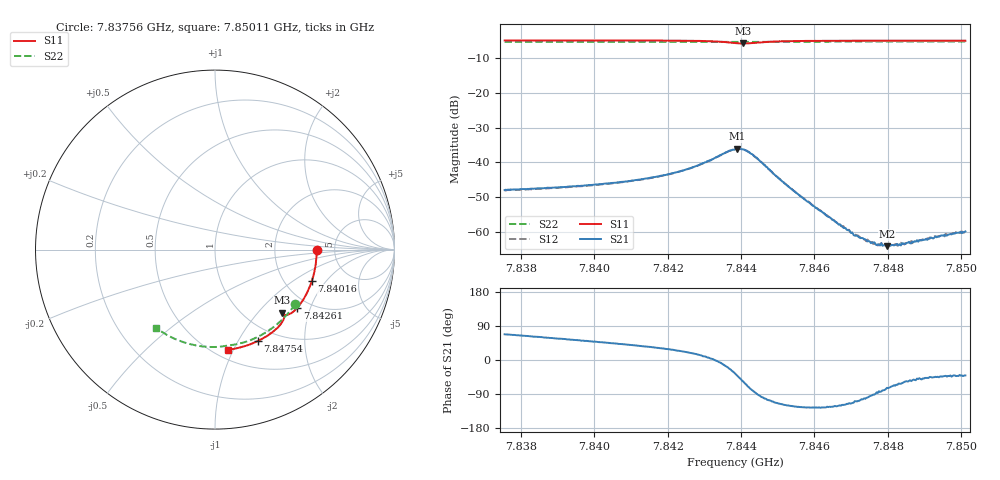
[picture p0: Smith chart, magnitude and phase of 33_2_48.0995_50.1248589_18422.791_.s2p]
#  HZ  S  RI  R  50.00
! Rohde & Schwarz Vector Network Analyzer
! Rohde-Schwarz,ZNB20-2Port,1311601062101988,3.16
! Created: UTC 12/23/2023, 3:37:52 AM
! freq[Hz]  re:S11  im:S11  re:S21  im:S21  re:S12  im:S12  re:S22  im:S22
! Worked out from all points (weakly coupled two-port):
!   401 points, 7.83756 GHz to 7.85011 GHz, reference 50 ohm
!   highest |S21| = -36.08 dB at 7.8439 GHz (marker M1); lowest = -64.1 dB at 7.84798 GHz (marker M2)
!   lowest |S11| = -5.8 dB at 7.84405 GHz (marker M3), VSWR 3.11, Z = 71.5 - j68.2 ohm
!   |S11| at or under -10 dB: nowhere
!   |S22| runs from -5.4 to -5.3 dB; largest |S21 - S12| = 0.00031
!   S11 on the Smith chart (normalised r, x): 7.83756 GHz: 3.61, -0.02; 7.84016 GHz: 2.80, -1.44; 7.84261 GHz: 1.72, -1.63; 7.84754 GHz: 0.81, -1.21; 7.85011 GHz: 0.58, -0.95
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7.837555e9  0.5666 -0.00223  0.0015 0.00369  0.00153 0.00367  0.4467 -0.3034
7.839659e9  0.5493 -0.1411  0.0029 0.00357  0.00282 0.00355  0.3486 -0.4132
7.840161e9  0.5398 -0.1737  0.0033 0.00356  0.00324 0.00353  0.3212 -0.4353
7.841762e9  0.4948 -0.274  0.00536 0.00328  0.00532 0.00328  0.2246 -0.4926
7.84261e9  0.4588 -0.3243  0.00778 0.00267  0.00772 0.00271  0.1689 -0.5145
7.843395e9  0.4087 -0.3619  0.0123 -0.00119  0.0122 -0.000963  0.1155 -0.5281
7.843835e9  0.3764 -0.3598  0.0125 -0.00891  0.0126 -0.00888  0.0861 -0.5322
7.843897e9  0.3743 -0.3569  0.0118 -0.0104  0.0118 -0.0103  0.082 -0.5326
7.844054e9  0.3739 -0.3514  0.00851 -0.0128  0.00833 -0.0128  0.0724 -0.5342
7.84418e9  0.3779 -0.3499  0.00501 -0.0134  0.00512 -0.0134  0.0645 -0.5356
7.844368e9  0.384 -0.3563  0.00116 -0.0121  0.00115 -0.012  0.0522 -0.5379
7.845122e9  0.3719 -0.4079  -0.0024 -0.00473  -0.00245 -0.00478  -0.000313 -0.5428
7.845938e9  0.3311 -0.4514  -0.0014 -0.00196  -0.0014 -0.002  -0.0582 -0.5406
7.847068e9  0.2662 -0.4954  -0.000343 -0.000828  -0.000365 -0.000873  -0.1364 -0.5272
7.847539e9  0.2379 -0.5101  -5.38e-05 -0.000684  -7.13e-05 -0.000704  -0.1683 -0.5183
7.847728e9  0.2262 -0.5154  3.45e-05 -0.000658  4.87e-05 -0.000632  -0.1807 -0.5141
7.847979e9  0.2107 -0.522  0.000177 -0.000595  0.000154 -0.000641  -0.1974 -0.5082
7.848042e9  0.2069 -0.5236  0.000193 -0.000622  0.000199 -0.000629  -0.2017 -0.5064
7.848513e9  0.1771 -0.5344  0.000388 -0.000573  0.000392 -0.000576  -0.2321 -0.4937
7.849203e9  0.1326 -0.547  0.000565 -0.00059  0.000592 -0.000582  -0.275 -0.4714
7.849831e9  0.0916 -0.5553  0.000721 -0.000624  0.000704 -0.00063  -0.3122 -0.448
7.850114e9  0.073 -0.5579  0.000769 -0.000661  0.000747 -0.000656  -0.3283 -0.4365
